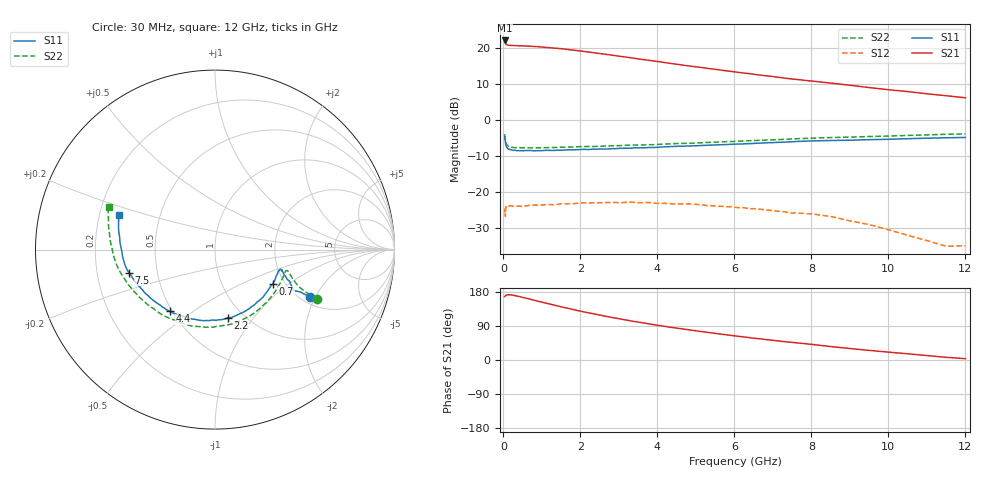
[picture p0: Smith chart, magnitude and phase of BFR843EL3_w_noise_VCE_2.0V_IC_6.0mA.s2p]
! Infineon Technologies  Discrete & RF Semiconductors
! BFR843EL3
! VCE =  2.0 V,  IC =  6.0 mA
! Common Emitter S-Parameters:  Aug 2013
# GHz  S  MA  R  50
!  f  S11  S21  S12  S22
! GHz  MAG  ANG  MAG  ANG  MAG  ANG  MAG  ANG
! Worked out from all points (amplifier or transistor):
!   103 points, 30 MHz to 12 GHz, reference 50 ohm
!   highest |S21| = 22.1 dB at 30 MHz (marker M1)
!   |S21| within 3 dB of that: start of sweep to 2.057 GHz
!   unconditionally stable (mu >= 1): 6.27 GHz to end of sweep
!   at 400 MHz: K = 1.00, MSG = 22.3 dB, |S12| = -24.0 dB
!   at 3.7 GHz: K = 0.80, MSG = 19.8 dB, |S12| = -23.0 dB
!   at 12 GHz: K = 5.47, MAG = 10.2 dB, |S12| = -35.0 dB
!   lowest NFmin = 0.89 dB at 450 MHz
!   S11 on the Smith chart (normalised r, x): 30 MHz: 2.23, -1.83; 700 MHz: 1.74, -0.77; 2.2 GHz: 0.85, -0.75; 4.4 GHz: 0.49, -0.41; 7.5 GHz: 0.34, -0.12; 12 GHz: 0.28, +0.16
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0.03  0.5945 -26.6  12.71 167.2  0.0512 33.2  0.6331 -25.8
0.04  0.5315 -26.4  12.09 168.1  0.0575 27.1  0.5672 -25.2
0.05  0.4923 -27.5  11.8 169.4  0.0454 27.8  0.5199 -24.2
0.06  0.4499 -22.8  11.44 169.9  0.0611 23.1  0.4931 -22.9
0.1  0.4062 -19.5  11.04 171.9  0.0627 11.9  0.4432 -18.5
0.15  0.3917 -16.9  10.88 172.3  0.0639 8.1  0.4229 -16.4
0.25  0.3764 -17.6  10.83 171.0  0.0631 5.7  0.4117 -16.6
0.7  0.375 -30.3  10.55 160.2  0.065 2.7  0.4074 -30.7
1  0.3731 -40.8  10.3 152.6  0.0652 2.0  0.4097 -41.7
1.5  0.3784 -58.0  9.756 140.4  0.0681 1.3  0.416 -59.1
2.1  0.3894 -76.4  8.934 126.8  0.0703 -1.5  0.4244 -77.9
2.2  0.3858 -79.2  8.785 124.7  0.0697 -0.8  0.426 -80.6
2.6  0.3938 -89.8  8.239 116.5  0.0706 -3.9  0.4322 -91.3
3.2  0.4036 -103.5  7.437 105.2  0.0714 -7.0  0.4433 -105.4
4.1  0.419 -120.7  6.359 90.2  0.0689 -12.4  0.4578 -122.5
4.4  0.4258 -126.1  6.032 85.5  0.0679 -13.3  0.4663 -127.6
5.3  0.4426 -139.2  5.201 72.9  0.0641 -17.7  0.4847 -141.0
6.1  0.4609 -149.6  4.573 62.6  0.06 -20.9  0.5042 -151.4
7.5  0.4962 -165.0  3.694 46.5  0.0503 -25.7  0.5429 -166.7
8.5  0.516 -175.5  3.245 35.5  0.0453 -31.3  0.5672 -176.7
10.5  0.5466 169.1  2.472 16.4  0.0248 -24.1  0.6074 167.6
12  0.5689 160.3  2.027 3.5  0.0177 22.3  0.6377 158.4
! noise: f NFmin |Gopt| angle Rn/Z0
0.45  0.89  0.14  15  0.14
0.9  0.89  0.15  33  0.14
1.5  0.93  0.16  47  0.14
1.9  0.95  0.16  51  0.14
2.4  0.97  0.17  64  0.13
3.5  1.01  0.18  85  0.13
5.5  1.09  0.22  121  0.11
8  1.18  0.31  161  0.08
10  1.25  0.41  206  0.05
